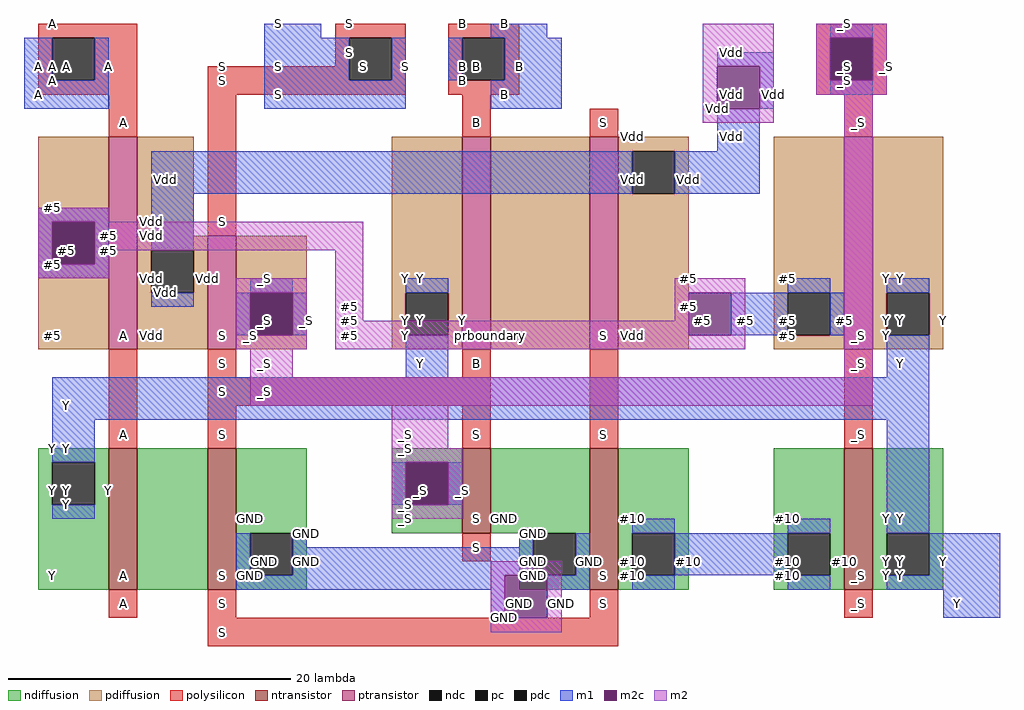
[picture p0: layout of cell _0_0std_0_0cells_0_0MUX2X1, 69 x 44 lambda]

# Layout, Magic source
magic
tech sky130l
<< ndiffusion >>
rect 8 15 13 16
rect 8 12 9 15
rect 12 12 13 15
rect 8 6 13 12
rect 15 6 20 16
rect 22 10 27 16
rect 33 15 38 16
rect 33 12 34 15
rect 37 12 38 15
rect 33 10 38 12
rect 40 10 47 16
rect 22 7 23 10
rect 26 7 27 10
rect 22 6 27 7
rect 42 7 43 10
rect 46 7 47 10
rect 42 6 47 7
rect 49 10 54 16
rect 49 7 50 10
rect 53 7 54 10
rect 49 6 54 7
rect 60 10 65 16
rect 60 7 61 10
rect 64 7 65 10
rect 60 6 65 7
rect 67 10 72 16
rect 67 7 68 10
rect 71 7 72 10
rect 67 6 72 7
<< ndc >>
rect 9 12 12 15
rect 34 12 37 15
rect 23 7 26 10
rect 43 7 46 10
rect 50 7 53 10
rect 61 7 64 10
rect 68 7 71 10
<< ntransistor >>
rect 13 6 15 16
rect 20 6 22 16
rect 38 10 40 16
rect 47 6 49 16
rect 65 6 67 16
<< pdiffusion >>
rect 8 32 13 38
rect 8 29 9 32
rect 12 29 13 32
rect 8 23 13 29
rect 15 31 19 38
rect 15 30 20 31
rect 15 27 16 30
rect 19 27 20 30
rect 15 23 20 27
rect 22 27 27 31
rect 22 24 23 27
rect 26 24 27 27
rect 22 23 27 24
rect 33 27 38 38
rect 33 24 34 27
rect 37 24 38 27
rect 33 23 38 24
rect 40 23 47 38
rect 49 37 54 38
rect 49 34 50 37
rect 53 34 54 37
rect 49 23 54 34
rect 60 27 65 38
rect 60 24 61 27
rect 64 24 65 27
rect 60 23 65 24
rect 67 27 72 38
rect 67 24 68 27
rect 71 24 72 27
rect 67 23 72 24
<< pdc >>
rect 9 29 12 32
rect 16 27 19 30
rect 23 24 26 27
rect 34 24 37 27
rect 50 34 53 37
rect 61 24 64 27
rect 68 24 71 27
<< ptransistor >>
rect 13 23 15 38
rect 20 23 22 31
rect 38 23 40 38
rect 47 23 49 38
rect 65 23 67 38
<< polysilicon >>
rect 8 45 15 46
rect 8 42 9 45
rect 12 42 15 45
rect 29 45 34 46
rect 29 43 30 45
rect 8 41 15 42
rect 13 38 15 41
rect 20 42 30 43
rect 33 42 34 45
rect 20 41 34 42
rect 37 45 42 46
rect 37 42 38 45
rect 41 42 42 45
rect 37 41 42 42
rect 63 45 68 46
rect 63 42 64 45
rect 67 42 68 45
rect 63 41 68 42
rect 20 31 22 41
rect 38 38 40 41
rect 47 38 49 40
rect 65 38 67 41
rect 13 16 15 23
rect 20 21 22 23
rect 38 21 40 23
rect 20 19 40 21
rect 20 16 22 19
rect 38 16 40 19
rect 47 16 49 23
rect 65 16 67 23
rect 38 8 40 10
rect 13 4 15 6
rect 20 4 22 6
rect 47 4 49 6
rect 65 4 67 6
rect 20 2 49 4
<< pc >>
rect 9 42 12 45
rect 30 42 33 45
rect 38 42 41 45
rect 64 42 67 45
<< m1 >>
rect 24 45 28 46
rect 40 45 44 46
rect 64 45 67 46
rect 7 42 9 45
rect 12 42 13 45
rect 7 40 13 42
rect 24 42 30 45
rect 33 42 34 45
rect 37 42 38 45
rect 41 42 45 45
rect 24 40 34 42
rect 40 40 45 42
rect 56 43 60 44
rect 59 40 60 43
rect 64 41 67 42
rect 56 37 59 40
rect 16 34 50 37
rect 53 34 59 37
rect 8 32 13 33
rect 8 29 9 32
rect 12 29 13 32
rect 8 28 13 29
rect 16 30 19 34
rect 23 27 26 28
rect 34 27 37 28
rect 61 27 64 28
rect 68 27 71 28
rect 16 26 19 27
rect 22 24 23 27
rect 26 24 27 27
rect 57 24 61 27
rect 64 24 65 27
rect 34 21 37 24
rect 68 21 71 24
rect 9 18 71 21
rect 9 15 12 18
rect 33 12 34 15
rect 37 12 38 15
rect 9 11 12 12
rect 50 10 53 11
rect 61 10 64 11
rect 22 7 23 10
rect 26 9 27 10
rect 42 9 43 10
rect 26 7 43 9
rect 46 7 47 10
rect 22 6 41 7
rect 40 4 41 6
rect 44 6 47 7
rect 53 7 61 10
rect 50 6 53 7
rect 61 6 64 7
rect 68 10 71 18
rect 71 7 76 10
rect 68 6 76 7
rect 72 4 76 6
<< m2c >>
rect 56 40 59 43
rect 64 42 67 45
rect 9 29 12 32
rect 23 24 26 27
rect 54 24 57 27
rect 34 12 37 15
rect 41 4 44 7
<< m2 >>
rect 55 43 60 46
rect 55 40 56 43
rect 59 40 60 43
rect 63 45 68 46
rect 63 42 64 45
rect 67 42 68 45
rect 63 41 68 42
rect 55 39 60 40
rect 8 32 13 33
rect 8 29 9 32
rect 12 30 31 32
rect 12 29 13 30
rect 8 28 13 29
rect 22 27 27 28
rect 22 24 23 27
rect 26 24 27 27
rect 22 23 27 24
rect 29 25 31 30
rect 53 27 58 28
rect 53 25 54 27
rect 29 24 54 25
rect 57 24 58 27
rect 29 23 58 24
rect 23 21 26 23
rect 65 21 67 41
rect 23 19 67 21
rect 33 16 37 19
rect 33 15 38 16
rect 33 12 34 15
rect 37 12 38 15
rect 33 11 38 12
rect 40 7 45 8
rect 40 4 41 7
rect 44 4 45 7
rect 40 3 45 4
<< labels >>
rlabel space 0 0 80 48 6 prboundary
rlabel ndiffusion 65 8 65 8 3 #10
rlabel pdiffusion 72 25 72 25 3 Y
rlabel ndiffusion 68 7 68 7 3 Y
rlabel ndiffusion 68 8 68 8 3 Y
rlabel ndiffusion 68 11 68 11 3 Y
rlabel ndiffusion 61 8 61 8 3 #10
rlabel pdiffusion 68 24 68 24 3 Y
rlabel pdiffusion 68 25 68 25 3 Y
rlabel pdiffusion 68 28 68 28 3 Y
rlabel polysilicon 66 39 66 39 3 _S
rlabel ntransistor 66 7 66 7 3 _S
rlabel polysilicon 66 17 66 17 3 _S
rlabel ptransistor 66 24 66 24 3 _S
rlabel pdiffusion 50 24 50 24 3 Vdd
rlabel pdiffusion 50 35 50 35 3 Vdd
rlabel pdiffusion 50 38 50 38 3 Vdd
rlabel polysilicon 48 39 48 39 3 S
rlabel ndiffusion 61 7 61 7 3 #10
rlabel ndiffusion 61 11 61 11 3 #10
rlabel pdiffusion 61 24 61 24 3 #5
rlabel pdiffusion 61 25 61 25 3 #5
rlabel pdiffusion 61 28 61 28 3 #5
rlabel polysilicon 48 17 48 17 3 S
rlabel ptransistor 48 24 48 24 3 S
rlabel ndiffusion 43 8 43 8 3 GND
rlabel pdiffusion 38 25 38 25 3 Y
rlabel polysilicon 38 46 38 46 3 B
rlabel ndiffusion 50 7 50 7 3 #10
rlabel ndiffusion 50 8 50 8 3 #10
rlabel ndiffusion 50 11 50 11 3 #10
rlabel polysilicon 39 9 39 9 3 S
rlabel ndiffusion 41 11 41 11 3 GND
rlabel polysilicon 39 17 39 17 3 S
rlabel polysilicon 39 22 39 22 3 B
rlabel ptransistor 39 24 39 24 3 B
rlabel polysilicon 39 39 39 39 3 B
rlabel polysilicon 66 5 66 5 3 _S
rlabel ntransistor 48 7 48 7 3 S
rlabel ntransistor 39 11 39 11 3 S
rlabel pdiffusion 34 24 34 24 3 Y
rlabel pdiffusion 34 25 34 25 3 Y
rlabel pdiffusion 34 28 34 28 3 Y
rlabel polysilicon 30 44 30 44 3 S
rlabel polysilicon 30 46 30 46 3 S
rlabel ndiffusion 43 7 43 7 3 GND
rlabel ndiffusion 34 11 34 11 3 _S
rlabel polysilicon 38 42 38 42 3 B
rlabel polysilicon 48 5 48 5 3 S
rlabel ndiffusion 23 11 23 11 3 GND
rlabel pdiffusion 20 28 20 28 3 Vdd
rlabel polysilicon 21 32 21 32 3 S
rlabel polysilicon 21 42 21 42 3 S
rlabel polysilicon 21 43 21 43 3 S
rlabel polysilicon 21 5 21 5 3 S
rlabel ntransistor 21 7 21 7 3 S
rlabel polysilicon 21 17 21 17 3 S
rlabel polysilicon 21 20 21 20 3 S
rlabel polysilicon 21 22 21 22 3 S
rlabel ptransistor 21 24 21 24 3 S
rlabel polysilicon 21 3 21 3 3 S
rlabel ndiffusion 13 13 13 13 3 Y
rlabel pdiffusion 16 24 16 24 3 Vdd
rlabel pdiffusion 16 28 16 28 3 Vdd
rlabel pdiffusion 16 31 16 31 3 Vdd
rlabel pdiffusion 16 32 16 32 3 Vdd
rlabel polysilicon 14 5 14 5 3 A
rlabel ntransistor 14 7 14 7 3 A
rlabel polysilicon 14 17 14 17 3 A
rlabel ptransistor 14 24 14 24 3 A
rlabel polysilicon 14 39 14 39 3 A
rlabel ndiffusion 9 7 9 7 3 Y
rlabel ndiffusion 9 13 9 13 3 Y
rlabel ndiffusion 9 16 9 16 3 Y
rlabel pdiffusion 9 24 9 24 3 #5
rlabel polysilicon 9 42 9 42 3 A
rlabel polysilicon 9 43 9 43 3 A
rlabel polysilicon 9 46 9 46 3 A
rlabel pdc 69 25 69 25 3 Y
port 1 e
rlabel m1 69 28 69 28 3 Y
port 1 e
rlabel m1 65 42 65 42 3 _S
rlabel m1 69 22 69 22 3 Y
port 1 e
rlabel m1 65 25 65 25 3 #5
rlabel m1 65 46 65 46 3 _S
rlabel m1 72 8 72 8 3 Y
port 1 e
rlabel pdc 62 25 62 25 3 #5
rlabel m1 62 28 62 28 3 #5
rlabel m1 69 7 69 7 3 Y
port 1 e
rlabel ndc 69 8 69 8 3 Y
port 1 e
rlabel m1 69 11 69 11 3 Y
port 1 e
rlabel m1 57 38 57 38 3 Vdd
rlabel m1 57 44 57 44 3 Vdd
rlabel m1 62 7 62 7 3 #10
rlabel ndc 62 8 62 8 3 #10
rlabel m1 62 11 62 11 3 #10
rlabel m1 54 8 54 8 3 #10
rlabel m1 41 41 41 41 3 B
port 2 e
rlabel m1 42 43 42 43 3 B
port 2 e
rlabel m1 41 46 41 46 3 B
port 2 e
rlabel m1 51 7 51 7 3 #10
rlabel ndc 51 8 51 8 3 #10
rlabel m1 51 11 51 11 3 #10
rlabel pdc 35 25 35 25 3 Y
port 1 e
rlabel m1 35 28 35 28 3 Y
port 1 e
rlabel pc 39 43 39 43 3 B
port 2 e
rlabel m1 73 5 73 5 3 Y
port 1 e
rlabel m1 38 43 38 43 3 B
port 2 e
rlabel m1 45 7 45 7 3 GND
rlabel m1 47 8 47 8 3 GND
rlabel m1 43 10 43 10 3 GND
rlabel m1 35 22 35 22 3 Y
port 1 e
rlabel m1 34 43 34 43 3 S
port 3 e
rlabel ndc 44 8 44 8 3 GND
rlabel m1 24 28 24 28 3 _S
rlabel pc 31 43 31 43 3 S
port 3 e
rlabel m1 27 8 27 8 3 GND
rlabel m1 27 10 27 10 3 GND
rlabel m1 17 31 17 31 3 Vdd
rlabel m1 54 35 54 35 3 Vdd
rlabel m1 25 41 25 41 3 S
port 3 e
rlabel m1 25 43 25 43 3 S
port 3 e
rlabel m1 25 46 25 46 3 S
port 3 e
rlabel ndc 24 8 24 8 3 GND
rlabel m1 17 27 17 27 3 Vdd
rlabel pdc 17 28 17 28 3 Vdd
rlabel pdc 51 35 51 35 3 Vdd
rlabel m1 23 7 23 7 3 GND
rlabel m1 23 8 23 8 3 GND
rlabel m1 17 35 17 35 3 Vdd
rlabel m1 10 12 10 12 3 Y
port 1 e
rlabel ndc 10 13 10 13 3 Y
port 1 e
rlabel m1 10 16 10 16 3 Y
port 1 e
rlabel m1 10 19 10 19 3 Y
port 1 e
rlabel m1 13 43 13 43 3 A
port 4 e
rlabel pc 10 43 10 43 3 A
port 4 e
rlabel m1 8 41 8 41 3 A
port 4 e
rlabel m1 8 43 8 43 3 A
port 4 e
rlabel m2 45 5 45 5 3 GND
rlabel m2 66 22 66 22 3 _S
rlabel m2 58 25 58 25 3 #5
rlabel m2 54 26 54 26 3 #5
rlabel m2 54 28 54 28 3 #5
rlabel m2 68 43 68 43 3 _S
rlabel m2c 42 5 42 5 3 GND
rlabel m2c 55 25 55 25 3 #5
rlabel m2c 65 43 65 43 3 _S
rlabel m2 41 4 41 4 3 GND
rlabel m2 41 5 41 5 3 GND
rlabel m2 41 8 41 8 3 GND
rlabel m2 38 13 38 13 3 _S
rlabel m2 30 25 30 25 3 #5
rlabel m2 30 26 30 26 3 #5
rlabel m2 64 42 64 42 3 _S
rlabel m2 64 43 64 43 3 _S
rlabel m2c 35 13 35 13 3 _S
rlabel m2 34 12 34 12 3 _S
rlabel m2 34 13 34 13 3 _S
rlabel m2 34 16 34 16 3 _S
rlabel m2 34 17 34 17 3 _S
rlabel m2 30 24 30 24 3 #5
rlabel m2 27 25 27 25 3 _S
rlabel m2 60 41 60 41 3 Vdd
rlabel m2 64 46 64 46 3 _S
rlabel m2 24 20 24 20 3 _S
rlabel m2 24 22 24 22 3 _S
rlabel m2c 24 25 24 25 3 _S
rlabel m2c 57 41 57 41 3 Vdd
rlabel m2 23 24 23 24 3 _S
rlabel m2 23 25 23 25 3 _S
rlabel m2 23 28 23 28 3 _S
rlabel m2 13 30 13 30 3 #5
rlabel m2 13 31 13 31 3 #5
rlabel m2 56 40 56 40 3 Vdd
rlabel m2 56 41 56 41 3 Vdd
rlabel m2 56 44 56 44 3 Vdd
rlabel m2c 10 30 10 30 3 #5
rlabel m2 9 29 9 29 3 #5
rlabel m2 9 30 9 30 3 #5
rlabel m2 9 33 9 33 3 #5
<< end >>
